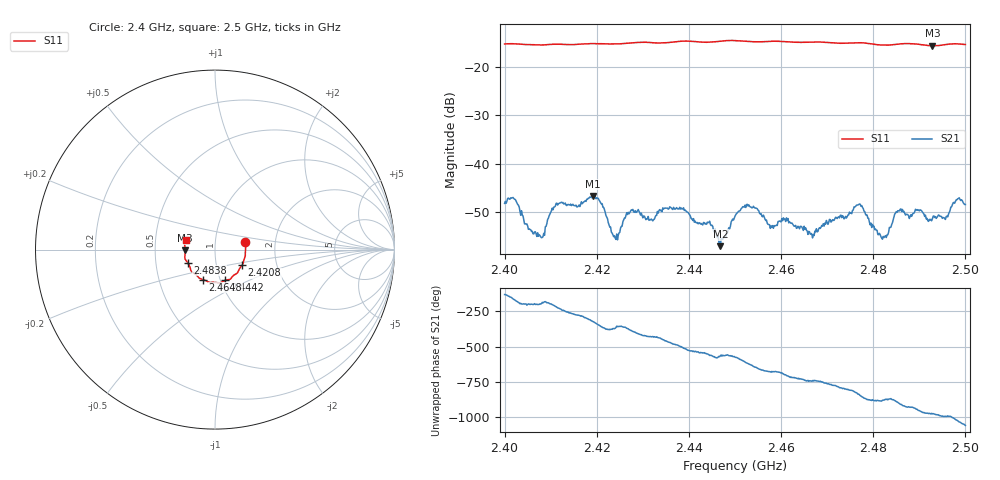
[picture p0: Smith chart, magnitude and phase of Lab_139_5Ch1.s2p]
# Hz S RI R 50
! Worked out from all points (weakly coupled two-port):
!   601 points, 2.4 GHz to 2.5 GHz, reference 50 ohm
!   highest |S21| = -46.72 dB at 2.4192 GHz (marker M1); lowest = -57.1 dB at 2.4468 GHz (marker M2)
!   lowest |S11| = -15.6 dB at 2.4928 GHz (marker M3), VSWR 1.40, Z = 35.8 - j0.365 ohm
!   |S11| at or under -10 dB: start of sweep to end of sweep
!   S12 and S22 are empty: the file has one direction only
!   S11 on the Smith chart (normalised r, x): 2.4 GHz: 1.40, +0.12; 2.4208 GHz: 1.33, -0.24; 2.4442 GHz: 1.05, -0.37; 2.4648 GHz: 0.83, -0.28; 2.4838 GHz: 0.73, -0.11; 2.5 GHz: 0.72, +0.08
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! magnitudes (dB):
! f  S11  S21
! 2.4 GHz  -15.2  -48.3
! 2.4022 GHz  -15.2  -47.4
! 2.4078 GHz  -15.4  -55.2
! 2.4112 GHz  -15.3  -48.2
! 2.4167 GHz  -15.2  -47.9
! 2.4192 GHz  -15.2  -46.7
! 2.4208 GHz  -15.2  -48.1
! 2.424 GHz  -15.2  -55.4
! 2.4273 GHz  -15.0  -49.8
! 2.4333 GHz  -15.0  -50.3
! 2.4442 GHz  -14.9  -52.2
! 2.4468 GHz  -14.7  -57.1
! 2.45 GHz  -14.5  -50.9
! 2.453 GHz  -14.7  -48.6
! 2.4648 GHz  -14.9  -53.8
! 2.4667 GHz  -14.8  -54.6
! 2.4768 GHz  -15.0  -48.5
! 2.4833 GHz  -15.5  -54.3
! 2.4838 GHz  -15.4  -53.2
! 2.4858 GHz  -15.2  -49.5
! 2.4928 GHz  -15.6  -51.5
! 2.5 GHz  -15.3  -48.5
